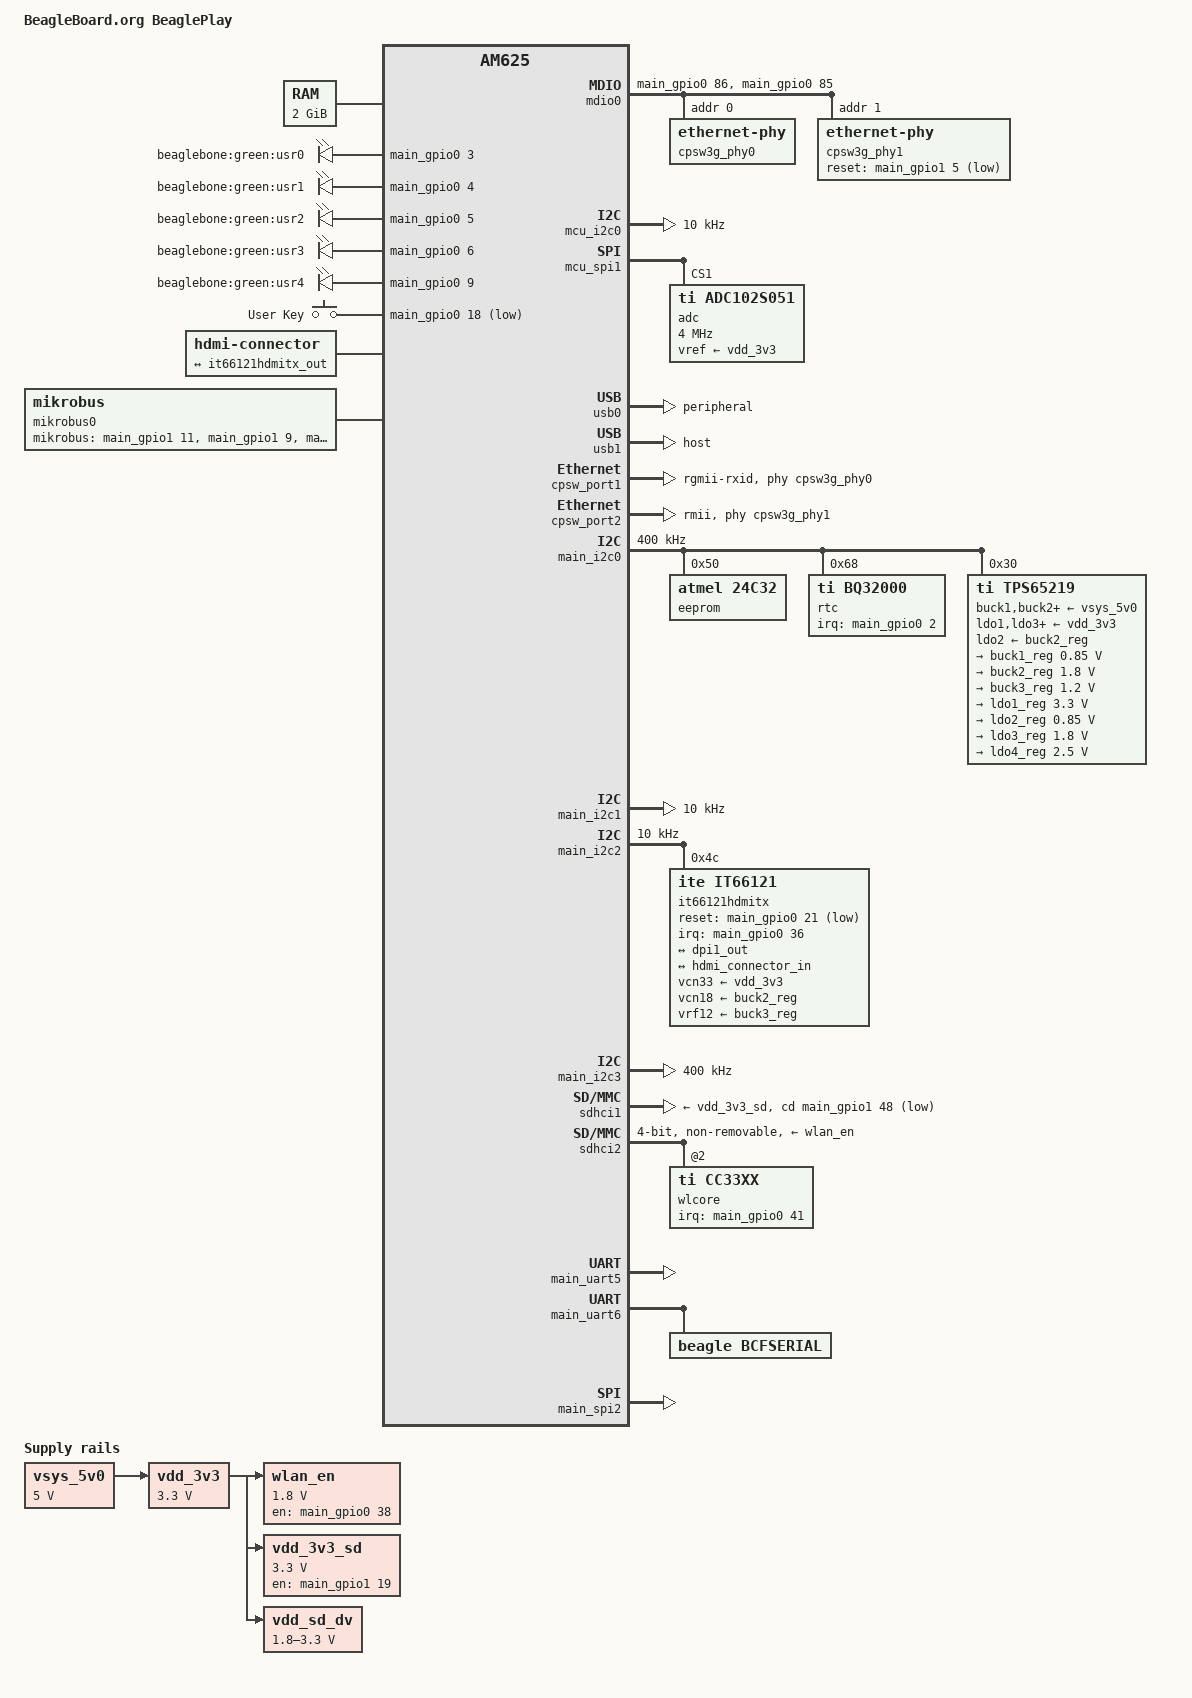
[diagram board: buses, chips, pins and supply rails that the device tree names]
// SPDX-License-Identifier: GPL-2.0
/*
 * https://beagleboard.org/play
 *
 * Copyright (C) 2022 Texas Instruments Incorporated - https://www.ti.com/
 * Copyright (C) 2022 Robert Nelson, BeagleBoard.org Foundation
 */

/dts-v1/;

#include <dt-bindings/leds/common.h>
#include <dt-bindings/gpio/gpio.h>
#include <dt-bindings/input/input.h>
#include <dt-bindings/net/ti-dp83867.h>
#include "k3-am625.dtsi"

/ {
	compatible =  "beagle,am625-beagleplay", "ti,am625";
	model = "BeagleBoard.org BeaglePlay";

	aliases {
		ethernet0 = &cpsw_port1;
		ethernet1 = &cpsw_port2;
		gpio0 = &main_gpio0;
		gpio1 = &main_gpio1;
		gpio2 = &mcu_gpio0;
		i2c0 = &main_i2c0;
		i2c1 = &main_i2c1;
		i2c2 = &main_i2c2;
		i2c3 = &main_i2c3;
		i2c4 = &wkup_i2c0;
		i2c5 = &mcu_i2c0;
		mdio-gpio0 = &mdio0;
		mikrobus0 = &mikrobus0;
		mmc0 = &sdhci0;
		mmc1 = &sdhci1;
		mmc2 = &sdhci2;
		rtc0 = &rtc;
		rtc1 = &wkup_rtc0;
		serial0 = &wkup_uart0;
		serial1 = &mcu_uart0;
		serial2 = &main_uart0;
		serial3 = &main_uart5;
		serial4 = &main_uart6;
		spi0 = &ospi0;
		spi1 = &main_spi2;
		usb0 = &usb0;
		usb1 = &usb1;
	};

	chosen {
		stdout-path = "serial2:115200n8";
	};

	memory@80000000 {
		device_type = "memory";
		/* 2G RAM */
		reg = <0x00000000 0x80000000 0x00000000 0x80000000>;
	};

	reserved-memory {
		#address-cells = <2>;
		#size-cells = <2>;
		ranges;

		rtos_ipc_memory_region: ipc-memories@9c800000 {
			compatible = "shared-dma-pool";
			reg = <0x00 0x9c800000 0x00 0x00300000>;
			no-map;
		};

		mcu_m4fss_dma_memory_region: m4f-dma-memory@9cb00000 {
			compatible = "shared-dma-pool";
			reg = <0x00 0x9cb00000 0x00 0x100000>;
			no-map;
		};

		mcu_m4fss_memory_region: m4f-memory@9cc00000 {
			compatible = "shared-dma-pool";
			reg = <0x00 0x9cc00000 0x00 0xe00000>;
			no-map;
		};

		wkup_r5fss0_core0_dma_memory_region: r5f-dma-memory@9da00000 {
			compatible = "shared-dma-pool";
			reg = <0x00 0x9da00000 0x00 0x00100000>;
			no-map;
		};

		wkup_r5fss0_core0_memory_region: r5f-memory@9db00000 {
			compatible = "shared-dma-pool";
			reg = <0x00 0x9db00000 0x00 0x00c00000>;
			no-map;
		};

		lpm_ctx_ddr: lpm-memory@9e700000 {
			reg = <0x00 0x9e700000 0x00 0x80000>;
			alignment = <0x1000>;
		};

		secure_tfa_ddr: tfa@9e780000 {
			reg = <0x00 0x9e780000 0x00 0x80000>;
			alignment = <0x1000>;
			no-map;
		};

		secure_ddr: optee@9e800000 {
			reg = <0x00 0x9e800000 0x00 0x01800000>; /* for OP-TEE */
			alignment = <0x1000>;
			no-map;
		};
	};

	vsys_5v0: regulator-1 {
		compatible = "regulator-fixed";
		regulator-name = "vsys_5v0";
		regulator-min-microvolt = <5000000>;
		regulator-max-microvolt = <5000000>;
		regulator-always-on;
		regulator-boot-on;
	};

	vdd_3v3: regulator-2 {
		/* output of TLV62595DMQR-U12 */
		compatible = "regulator-fixed";
		regulator-name = "vdd_3v3";
		regulator-min-microvolt = <3300000>;
		regulator-max-microvolt = <3300000>;
		vin-supply = <&vsys_5v0>;
		regulator-always-on;
		regulator-boot-on;
	};

	wlan_en: regulator-3 {
		/* OUTPUT of SN74AVC2T244DQMR */
		compatible = "regulator-fixed";
		regulator-name = "wlan_en";
		regulator-min-microvolt = <1800000>;
		regulator-max-microvolt = <1800000>;
		enable-active-high;
		regulator-always-on;
		vin-supply = <&vdd_3v3>;
		gpio = <&main_gpio0 38 GPIO_ACTIVE_HIGH>;
		pinctrl-names = "default";
		pinctrl-0 = <&wifi_en_pins_default>;
	};

	vdd_3v3_sd: regulator-4 {
		/* output of TPS22918DBVR-U21 */
		pinctrl-names = "default";
		pinctrl-0 = <&vdd_3v3_sd_pins_default>;

		compatible = "regulator-fixed";
		regulator-name = "vdd_3v3_sd";
		regulator-min-microvolt = <3300000>;
		regulator-max-microvolt = <3300000>;
		enable-active-high;
		regulator-always-on;
		vin-supply = <&vdd_3v3>;
		gpio = <&main_gpio1 19 GPIO_ACTIVE_HIGH>;
	};

	vdd_sd_dv: regulator-5 {
		compatible = "regulator-gpio";
		regulator-name = "sd_hs200_switch";
		pinctrl-names = "default";
		pinctrl-0 = <&vdd_sd_dv_pins_default>;
		regulator-min-microvolt = <1800000>;
		regulator-max-microvolt = <3300000>;
		regulator-boot-on;
		vin-supply = <&vdd_3v3>;
		gpios = <&main_gpio1 49 GPIO_ACTIVE_HIGH>;
		states = <1800000 0x0>,
			 <3300000 0x1>;
	};

	leds {
		compatible = "gpio-leds";

		led-0 {
			label = "beaglebone:green:usr0";
			gpios = <&main_gpio0 3 GPIO_ACTIVE_HIGH>;
			linux,default-trigger = "heartbeat";
			function = LED_FUNCTION_HEARTBEAT;
		};

		led-1 {
			label = "beaglebone:green:usr1";
			gpios = <&main_gpio0 4 GPIO_ACTIVE_HIGH>;
			linux,default-trigger = "mmc0";
			function = LED_FUNCTION_DISK_ACTIVITY;
		};

		led-2 {
			label = "beaglebone:green:usr2";
			gpios = <&main_gpio0 5 GPIO_ACTIVE_HIGH>;
			linux,default-trigger = "cpu";
			function = LED_FUNCTION_CPU;
		};

		led-3 {
			label = "beaglebone:green:usr3";
			gpios = <&main_gpio0 6 GPIO_ACTIVE_HIGH>;
			linux,default-trigger = "mmc1";
			function = LED_FUNCTION_DISK_ACTIVITY;
		};

		led-4 {
			label = "beaglebone:green:usr4";
			gpios = <&main_gpio0 9 GPIO_ACTIVE_HIGH>;
			linux,default-trigger = "phy0tx";
			function = LED_FUNCTION_WLAN;
		};
	};

	gpio_keys: gpio-keys {
		compatible = "gpio-keys";
		autorepeat;
		pinctrl-names = "default";
		pinctrl-0 = <&usr_button_pins_default>;

		usr: usr {
			label = "User Key";
			linux,code = <BTN_0>;
			gpios = <&main_gpio0 18 GPIO_ACTIVE_LOW>;
		};

	};

	hdmi0: connector {
		compatible = "hdmi-connector";
		label = "hdmi";
		type = "a";
		port {
			hdmi_connector_in: endpoint {
				remote-endpoint = <&it66121hdmitx_out>;
			};
		};
	};

	sound {
		compatible = "simple-audio-card";
		simple-audio-card,name = "it66121 HDMI";
		simple-audio-card,format = "i2s";
		simple-audio-card,bitclock-master = <&hdmi_dailink_master>;
		simple-audio-card,frame-master = <&hdmi_dailink_master>;
		simple-audio-card,mclk-fs = <2182>;

		hdmi_dailink_master: simple-audio-card,cpu {
			sound-dai = <&mcasp1>;
			system-clock-frequency = <24000000>;
			system-clock-direction-out;
		};

		simple-audio-card,codec {
			sound-dai = <&it66121hdmitx>;
		};
	};

	mdio0: bitbang-mdio {
		compatible = "virtual,mdio-gpio";
		pinctrl-names = "default";
		pinctrl-0 = <&mdio0_pins_default>;
		gpios = <&main_gpio0 86 GPIO_ACTIVE_HIGH>, /* MDC */
			<&main_gpio0 85 GPIO_ACTIVE_HIGH>; /* MDIO */
		#address-cells = <1>;
		#size-cells = <0>;

		cpsw3g_phy0: ethernet-phy@0 {
			reg = <0>;
			ti,rx-internal-delay = <DP83867_RGMIIDCTL_2_00_NS>;
			ti,fifo-depth = <DP83867_PHYCR_FIFO_DEPTH_4_B_NIB>;
			ti,min-output-impedance;
		};

		cpsw3g_phy1: ethernet-phy@1 {
			reg = <1>;
			reset-gpios = <&main_gpio1 5 GPIO_ACTIVE_LOW>;
			reset-assert-us = <25>;
			reset-deassert-us = <60000>; /* T2 */
		};
	};

	mikrobus0: linux-mikrobus {
		compatible = "linux,mikrobus";
		pinctrl-names = "default", "pwm_default", "pwm_gpio",
				"uart_default", "uart_gpio", "i2c_default",
				"i2c_gpio", "spi_default", "spi_gpio";
		pinctrl-0 = <&mikrobus_gpio_pins_default>;
		pinctrl-1 = <&mikrobus_pwm_pins_default>;
		pinctrl-2 = <&mikrobus_pwm_pins_gpio>;
		pinctrl-3 = <&mikrobus_uart_pins_default>;
		pinctrl-4 = <&mikrobus_uart_pins_gpio>;
		pinctrl-5 = <&mikrobus_i2c_pins_default>;
		pinctrl-6 = <&mikrobus_i2c_pins_gpio>;
		pinctrl-7 = <&mikrobus_spi_pins_default>;
		pinctrl-8 = <&mikrobus_spi_pins_gpio>;
		i2c-adapter = <&main_i2c3>;
		spi-master = <1>;
		spi-cs = <0 1>;
		uart = <&main_uart5>;
		mikrobus-gpios = <&main_gpio1 11 GPIO_ACTIVE_HIGH>, <&main_gpio1 9 GPIO_ACTIVE_HIGH>,
		<&main_gpio1 24 GPIO_ACTIVE_HIGH>, <&main_gpio1 25 GPIO_ACTIVE_HIGH>,
		<&main_gpio1 22 GPIO_ACTIVE_HIGH>, <&main_gpio1 23 GPIO_ACTIVE_HIGH>,
		<&main_gpio1 7 GPIO_ACTIVE_HIGH>, <&main_gpio1 8 GPIO_ACTIVE_HIGH>,
		<&main_gpio1 14 GPIO_ACTIVE_HIGH>, <&main_gpio1 13 GPIO_ACTIVE_HIGH>,
		<&main_gpio1 12 GPIO_ACTIVE_HIGH>, <&main_gpio1 10 GPIO_ACTIVE_HIGH>;
	};

};


&main_pmx0 {
	hdmi_pins_default: hdmi-pins-default {
		pinctrl-single,pins = <
			AM62X_IOPAD(0x0100, PIN_OUTPUT, 0) /* (AC25) VOUT0_VSYNC */
			AM62X_IOPAD(0x00f8, PIN_OUTPUT, 0) /* (AB24) VOUT0_HSYNC */
			AM62X_IOPAD(0x0104, PIN_OUTPUT, 0) /* (AC24) VOUT0_PCLK */
			AM62X_IOPAD(0x00fc, PIN_OUTPUT, 0) /* (Y20) VOUT0_DE */
			AM62X_IOPAD(0x00b8, PIN_OUTPUT, 0) /* (U22) VOUT0_DATA0 */
			AM62X_IOPAD(0x00bc, PIN_OUTPUT, 0) /* (V24) VOUT0_DATA1 */
			AM62X_IOPAD(0x00c0, PIN_OUTPUT, 0) /* (W25) VOUT0_DATA2 */
			AM62X_IOPAD(0x00c4, PIN_OUTPUT, 0) /* (W24) VOUT0_DATA3 */
			AM62X_IOPAD(0x00c8, PIN_OUTPUT, 0) /* (Y25) VOUT0_DATA4 */
			AM62X_IOPAD(0x00cc, PIN_OUTPUT, 0) /* (Y24) VOUT0_DATA5 */
			AM62X_IOPAD(0x00d0, PIN_OUTPUT, 0) /* (Y23) VOUT0_DATA6 */
			AM62X_IOPAD(0x00d4, PIN_OUTPUT, 0) /* (AA25) VOUT0_DATA7 */
			AM62X_IOPAD(0x00d8, PIN_OUTPUT, 0) /* (V21) VOUT0_DATA8 */
			AM62X_IOPAD(0x00dc, PIN_OUTPUT, 0) /* (W21) VOUT0_DATA9 */
			AM62X_IOPAD(0x00e0, PIN_OUTPUT, 0) /* (V20) VOUT0_DATA10 */
			AM62X_IOPAD(0x00e4, PIN_OUTPUT, 0) /* (AA23) VOUT0_DATA11 */
			AM62X_IOPAD(0x00e8, PIN_OUTPUT, 0) /* (AB25) VOUT0_DATA12 */
			AM62X_IOPAD(0x00ec, PIN_OUTPUT, 0) /* (AA24) VOUT0_DATA13 */
			AM62X_IOPAD(0x00f0, PIN_OUTPUT, 0) /* (Y22) VOUT0_DATA14 */
			AM62X_IOPAD(0x00f4, PIN_OUTPUT, 0) /* (AA21) VOUT0_DATA15 */
			AM62X_IOPAD(0x005c, PIN_OUTPUT, 1) /* (R24) GPMC0_AD8.VOUT0_DATA16 */
			AM62X_IOPAD(0x0060, PIN_OUTPUT, 1) /* (R25) GPMC0_AD9.VOUT0_DATA17 */
			AM62X_IOPAD(0x0064, PIN_OUTPUT, 1) /* (T25) GPMC0_AD10.VOUT0_DATA18 */
			AM62X_IOPAD(0x0068, PIN_OUTPUT, 1) /* (R21) GPMC0_AD11.VOUT0_DATA19 */
			AM62X_IOPAD(0x006c, PIN_OUTPUT, 1) /* (T22) GPMC0_AD12.VOUT0_DATA20 */
			AM62X_IOPAD(0x0070, PIN_OUTPUT, 1) /* (T24) GPMC0_AD13.VOUT0_DATA21 */
			AM62X_IOPAD(0x0074, PIN_OUTPUT, 1) /* (U25) GPMC0_AD14.VOUT0_DATA22 */
			AM62X_IOPAD(0x0078, PIN_OUTPUT, 1) /* (U24) GPMC0_AD15.VOUT0_DATA23 */
		>;
	};

	hdmi_gpio_pins_default: hdmi-gpio-pins-default {
		pinctrl-single,pins = <
			AM62X_IOPAD(0x0094, PIN_INPUT_PULLUP | PIN_DEBOUNCE_CONF6, 7) /* (N20) GPMC0_BE1n.GPIO0_36 */
			AM62X_IOPAD(0x0054, PIN_OUTPUT_PULLUP, 7) /* (P21) GPMC0_AD6.GPIO0_21 */
		>;
	};

	gpio0_pins_default: gpio0-pins-default {
		pinctrl-single,pins = <
			AM62X_IOPAD(0x0004, PIN_INPUT, 7) /* (G25) OSPI0_LBCLKO.GPIO0_1 */
			AM62X_IOPAD(0x0008, PIN_INPUT, 7) /* (J24) OSPI0_DQS.GPIO0_2 */
			AM62X_IOPAD(0x000c, PIN_INPUT, 7) /* (E25) OSPI0_D0.GPIO0_3 */
			AM62X_IOPAD(0x0010, PIN_INPUT, 7) /* (G24) OSPI0_D1.GPIO0_4 */
			AM62X_IOPAD(0x0014, PIN_INPUT, 7) /* (F25) OSPI0_D2.GPIO0_5 */
			AM62X_IOPAD(0x0018, PIN_INPUT, 7) /* (F24) OSPI0_D3.GPIO0_6 */
			AM62X_IOPAD(0x0024, PIN_INPUT, 7) /* (H25) OSPI0_D6.GPIO0_9 */
			AM62X_IOPAD(0x0028, PIN_INPUT, 7) /* (J22) OSPI0_D7.GPIO0_10 */
			AM62X_IOPAD(0x002c, PIN_INPUT, 7) /* (F23) OSPI0_CSn0.GPIO0_11 */
			AM62X_IOPAD(0x0030, PIN_INPUT, 7) /* (G21) OSPI0_CSn1.GPIO0_12 */
			AM62X_IOPAD(0x0034, PIN_INPUT, 7) /* (H21) OSPI0_CSn2.GPIO0_13 */
			AM62X_IOPAD(0x0038, PIN_INPUT, 7) /* (E24) OSPI0_CSn3.GPIO0_14 */
			AM62X_IOPAD(0x004c, PIN_INPUT, 7) /* (P24) GPMC0_AD4.GPIO0_19 */
			AM62X_IOPAD(0x0050, PIN_INPUT, 7) /* (P22) GPMC0_AD5.GPIO0_20 */
			AM62X_IOPAD(0x00a4, PIN_INPUT, 7) /* (M22) GPMC0_DIR.GPIO0_40 */
			AM62X_IOPAD(0x00ac, PIN_INPUT, 7) /* (L21) GPMC0_CSn1.GPIO0_42 */
		>;
	};

	vdd_sd_dv_pins_default: vdd-sd-pins-default {
		pinctrl-single,pins = <
			AM62X_IOPAD(0x0244, PIN_OUTPUT, 7) /* (C17) MMC1_SDWP.GPIO1_49 */
		>;
	};

	usr_button_pins_default: usr-button-pins-default {
		pinctrl-single,pins = <
			AM62X_IOPAD(0x0048, PIN_INPUT, 7) /* (N25) GPMC0_AD3.GPIO0_18 */
		>;
	};

	grove_pins_default: grove-pins-default {
		pinctrl-single,pins = <
			AM62X_IOPAD(0x01e8, PIN_INPUT_PULLUP, 0) /* (B17) I2C1_SCL */
			AM62X_IOPAD(0x01ec, PIN_INPUT_PULLUP, 0) /* (A17) I2C1_SDA */
		>;
	};

	local_i2c_pins_default: local-i2c-pins-default {
		pinctrl-single,pins = <
			AM62X_IOPAD(0x01e0, PIN_INPUT_PULLUP, 0) /* (B16) I2C0_SCL */
			AM62X_IOPAD(0x01e4, PIN_INPUT_PULLUP, 0) /* (A16) I2C0_SDA */
		>;
	};

	i2c2_1v8_pins_default: i2c2-pins-default {
		pinctrl-single,pins = <
			AM62X_IOPAD(0x00b0, PIN_INPUT_PULLUP, 1) /* (K22) GPMC0_CSn2.I2C2_SCL */
			AM62X_IOPAD(0x00b4, PIN_INPUT_PULLUP, 1) /* (K24) GPMC0_CSn3.I2C2_SDA */
		>;
	};

	mcasp_hdmi_pins_default: mcasp-hdmi-pins-default {
		pinctrl-single,pins = <
			AM62X_IOPAD(0x0090, PIN_INPUT, 2) /* (M24) GPMC0_BE0n_CLE.MCASP1_ACLKX */
			AM62X_IOPAD(0x0098, PIN_INPUT, 2) /* (U23) GPMC0_WAIT0.MCASP1_AFSX */
			AM62X_IOPAD(0x008c, PIN_OUTPUT, 2) /* (L25) GPMC0_WEn.MCASP1_AXR0 */
			AM62X_IOPAD(0x0088, PIN_INPUT, 2) /* (L24) GPMC0_OEn_REn.MCASP1_AXR1 */
			AM62X_IOPAD(0x0084, PIN_INPUT, 2) /* (L23) GPMC0_ADVn_ALE.MCASP1_AXR2 */
			AM62X_IOPAD(0x007c, PIN_INPUT, 2) /* (P25) GPMC0_CLK.MCASP1_AXR3 */
		>;
	};

	mdio0_pins_default: mdio0-pins-default {
		pinctrl-single,pins = <
			AM62X_IOPAD(0x0160, PIN_OUTPUT, 7) /* (AD24) MDIO0_MDC.GPIO0_86 */
			AM62X_IOPAD(0x015c, PIN_INPUT, 7) /* (AB22) MDIO0_MDIO.GPIO0_85 */
		>;
	};

	rgmii1_pins_default: rgmii1-pins-default {
		pinctrl-single,pins = <
			AM62X_IOPAD(0x014c, PIN_INPUT, 0) /* (AB17) RGMII1_RD0 */
			AM62X_IOPAD(0x0150, PIN_INPUT, 0) /* (AC17) RGMII1_RD1 */
			AM62X_IOPAD(0x0154, PIN_INPUT, 0) /* (AB16) RGMII1_RD2 */
			AM62X_IOPAD(0x0158, PIN_INPUT, 0) /* (AA15) RGMII1_RD3 */
			AM62X_IOPAD(0x0148, PIN_INPUT, 0) /* (AD17) RGMII1_RXC */
			AM62X_IOPAD(0x0144, PIN_INPUT, 0) /* (AE17) RGMII1_RX_CTL */
			AM62X_IOPAD(0x0134, PIN_OUTPUT, 0) /* (AE20) RGMII1_TD0 */
			AM62X_IOPAD(0x0138, PIN_OUTPUT, 0) /* (AD20) RGMII1_TD1 */
			AM62X_IOPAD(0x013c, PIN_OUTPUT, 0) /* (AE18) RGMII1_TD2 */
			AM62X_IOPAD(0x0140, PIN_OUTPUT, 0) /* (AD18) RGMII1_TD3 */
			AM62X_IOPAD(0x0130, PIN_OUTPUT, 0) /* (AE19) RGMII1_TXC */
			AM62X_IOPAD(0x012c, PIN_OUTPUT, 0) /* (AD19) RGMII1_TX_CTL */
		>;
	};

	emmc_pins_default: emmc-pins-default {
		pinctrl-single,pins = <
			AM62X_IOPAD(0x0220, PIN_INPUT, 0) /* (Y3) MMC0_CMD */
			AM62X_IOPAD(0x0218, PIN_INPUT, 0) /* (AB1) MMC0_CLK */
			AM62X_IOPAD(0x0214, PIN_INPUT, 0) /* (AA2) MMC0_DAT0 */
			AM62X_IOPAD(0x0210, PIN_INPUT, 0) /* (AA1) MMC0_DAT1 */
			AM62X_IOPAD(0x020c, PIN_INPUT, 0) /* (AA3) MMC0_DAT2 */
			AM62X_IOPAD(0x0208, PIN_INPUT, 0) /* (Y4) MMC0_DAT3 */
			AM62X_IOPAD(0x0204, PIN_INPUT, 0) /* (AB2) MMC0_DAT4 */
			AM62X_IOPAD(0x0200, PIN_INPUT, 0) /* (AC1) MMC0_DAT5 */
			AM62X_IOPAD(0x01fc, PIN_INPUT, 0) /* (AD2) MMC0_DAT6 */
			AM62X_IOPAD(0x01f8, PIN_INPUT, 0) /* (AC2) MMC0_DAT7 */
		>;
	};

	vdd_3v3_sd_pins_default: vdd-3v3-sd-pins-default {
		pinctrl-single,pins = <
			AM62X_IOPAD(0x01c4, PIN_INPUT, 7) /* (B14) SPI0_D1_GPIO1_19 */
		>;
	};

	sd_pins_default: sd-pins-default {
		pinctrl-single,pins = <
			AM62X_IOPAD(0x023c, PIN_INPUT, 0) /* (A21) MMC1_CMD */
			AM62X_IOPAD(0x0234, PIN_INPUT, 0) /* (B22) MMC1_CLK */
			AM62X_IOPAD(0x0230, PIN_INPUT, 0) /* (A22) MMC1_DAT0 */
			AM62X_IOPAD(0x022c, PIN_INPUT, 0) /* (B21) MMC1_DAT1 */
			AM62X_IOPAD(0x0228, PIN_INPUT, 0) /* (C21) MMC1_DAT2 */
			AM62X_IOPAD(0x0224, PIN_INPUT, 0) /* (D22) MMC1_DAT3 */
			AM62X_IOPAD(0x0240, PIN_INPUT, 7) /* (D17) MMC1_SDCD.GPIO1_48 */
		>;
	};

	wifi_pins_default: wifi-pins-default {
		pinctrl-single,pins = <
			AM62X_IOPAD(0x0120, PIN_INPUT, 0) /* (C24) MMC2_CMD */
			AM62X_IOPAD(0x0118, PIN_INPUT, 0) /* (D25) MMC2_CLK */
			AM62X_IOPAD(0x0114, PIN_INPUT, 0) /* (B24) MMC2_DAT0 */
			AM62X_IOPAD(0x0110, PIN_INPUT, 0) /* (C25) MMC2_DAT1 */
			AM62X_IOPAD(0x010c, PIN_INPUT, 0) /* (E23) MMC2_DAT2 */
			AM62X_IOPAD(0x0108, PIN_INPUT, 0) /* (D24) MMC2_DAT3 */
			AM62X_IOPAD(0x0124, PIN_INPUT, 0) /* (A23) MMC2_SDCD */
			AM62X_IOPAD(0x11c, PIN_INPUT, 0) /* (#N/A) MMC2_CLKB */
		>;
	};

	wifi_en_pins_default: wifi-en-pins-default {
		pinctrl-single,pins = <
			AM62X_IOPAD(0x009c, PIN_OUTPUT, 7) /* (V25) GPMC0_WAIT1.GPIO0_38 */
		>;
	};

	wifi_wlirq_pins_default: wifi-wlirq-pins-default {
		pinctrl-single,pins = <
			AM62X_IOPAD(0x00a8, PIN_INPUT, 7) /* (M21) GPMC0_CSn0.GPIO0_41 */
		>;
	};

	oldi_pins_default: oldi-pins-default {
		pinctrl-single,pins = <
			AM62X_IOPAD(0x0260, PIN_OUTPUT, 0) /* (AA5) OLDI0_A0N */
			AM62X_IOPAD(0x025c, PIN_OUTPUT, 0) /* (Y6) OLDI0_A0P */
			AM62X_IOPAD(0x0268, PIN_OUTPUT, 0) /* (AD3) OLDI0_A1N */
			AM62X_IOPAD(0x0264, PIN_OUTPUT, 0) /* (AB4) OLDI0_A1P */
			AM62X_IOPAD(0x0270, PIN_OUTPUT, 0) /* (Y8) OLDI0_A2N */
			AM62X_IOPAD(0x026c, PIN_OUTPUT, 0) /* (AA8) OLDI0_A2P */
			AM62X_IOPAD(0x0278, PIN_OUTPUT, 0) /* (AB6) OLDI0_A3N */
			AM62X_IOPAD(0x0274, PIN_OUTPUT, 0) /* (AA7) OLDI0_A3P */
			AM62X_IOPAD(0x0280, PIN_OUTPUT, 0) /* (AC6) OLDI0_A4N */
			AM62X_IOPAD(0x027c, PIN_OUTPUT, 0) /* (AC5) OLDI0_A4P */
			AM62X_IOPAD(0x0288, PIN_OUTPUT, 0) /* (AE5) OLDI0_A5N */
			AM62X_IOPAD(0x0284, PIN_OUTPUT, 0) /* (AD6) OLDI0_A5P */
			AM62X_IOPAD(0x0290, PIN_OUTPUT, 0) /* (AE6) OLDI0_A6N */
			AM62X_IOPAD(0x028c, PIN_OUTPUT, 0) /* (AD7) OLDI0_A6P */
			AM62X_IOPAD(0x0298, PIN_OUTPUT, 0) /* (AD8) OLDI0_A7N */
			AM62X_IOPAD(0x0294, PIN_OUTPUT, 0) /* (AE7) OLDI0_A7P */
			AM62X_IOPAD(0x02a0, PIN_OUTPUT, 0) /* (AD4) OLDI0_CLK0N */
			AM62X_IOPAD(0x029c, PIN_OUTPUT, 0) /* (AE3) OLDI0_CLK0P */
			AM62X_IOPAD(0x02a8, PIN_OUTPUT, 0) /* (AE4) OLDI0_CLK1N */
			AM62X_IOPAD(0x02a4, PIN_OUTPUT, 0) /* (AD5) OLDI0_CLK1P */
		>;
	};

	available_pru1_pins_default: pru1-pins-default {
		pinctrl-single,pins = <
			AM62X_IOPAD(0x0174, PIN_INPUT, 4) /* (AD21) RGMII2_TD2.PR0_PRU1_GPI4 */
			AM62X_IOPAD(0x003c, PIN_INPUT, 2) /* (M25) GPMC0_AD0.PR0_PRU1_GPI8 */
			AM62X_IOPAD(0x0040, PIN_INPUT, 2) /* (N23) GPMC0_AD1.PR0_PRU1_GPI9 */
			AM62X_IOPAD(0x0044, PIN_INPUT, 2) /* (N24) GPMC0_AD2.PR0_PRU1_GPI10 */
			AM62X_IOPAD(0x0178, PIN_INPUT, 4) /* (AC20) RGMII2_TD3.PR0_PRU1_GPI16 */
		>;
	};

	spe_pins_default: spe-pins-default {
		pinctrl-single,pins = <
			AM62X_IOPAD(0x0168, PIN_INPUT, 1) /* (AE21) RGMII2_TXC.RMII2_CRS_DV */
			AM62X_IOPAD(0x0180, PIN_INPUT, 1) /* (AD23) RGMII2_RXC.RMII2_REF_CLK */
			AM62X_IOPAD(0x0184, PIN_INPUT, 1) /* (AE23) RGMII2_RD0.RMII2_RXD0 */
			AM62X_IOPAD(0x0188, PIN_INPUT, 1) /* (AB20) RGMII2_RD1.RMII2_RXD1 */
			AM62X_IOPAD(0x017c, PIN_INPUT, 1) /* (AD22) RGMII2_RX_CTL.RMII2_RX_ER */
			AM62X_IOPAD(0x016c, PIN_INPUT, 1) /* (Y18) RGMII2_TD0.RMII2_TXD0 */
			AM62X_IOPAD(0x0170, PIN_INPUT, 1) /* (AA18) RGMII2_TD1.RMII2_TXD1 */
			AM62X_IOPAD(0x0164, PIN_INPUT, 1) /* (AA19) RGMII2_TX_CTL.RMII2_TX_EN */
			AM62X_IOPAD(0x018c, PIN_OUTPUT, 7) /* (AC21) RGMII2_RD2.GPIO1_5 */
			AM62X_IOPAD(0x0190, PIN_INPUT, 7) /* (AE22) RGMII2_RD3.GPIO1_6 */
			/* THIS PIN A18 is routed to TP17 on unmodified board -> SPE at 25MHz (modified board routes to SPE) */
			AM62X_IOPAD(0x01f0, PIN_OUTPUT, 5) /* (A18) EXT_REFCLK1.CLKOUT0 */
		>;
	};

	mikrobus_gpio_pins_default: mikrobus-gpio-pins-default {
		pinctrl-single,pins = <
			AM62X_IOPAD(0x019c, PIN_INPUT, 7) /* (B18) MCASP0_AXR1.GPIO1_9 */
			AM62X_IOPAD(0x01a0, PIN_INPUT, 7) /* (E18) MCASP0_AXR0.GPIO1_10 */
			AM62X_IOPAD(0x01a8, PIN_INPUT, 7) /* (D20) MCASP0_AFSX.GPIO1_12 */
		>;
	};

	mikrobus_pwm_pins_default: mikrobus-pwm-pins-default {
		pinctrl-single,pins = <
			AM62X_IOPAD(0x01a4, PIN_INPUT, 2) /* (B20) MCASP0_ACLKX.ECAP2_IN_APWM_OUT */
		>;
	};

	mikrobus_pwm_pins_gpio: mikrobus-pwm-pins-gpio {
		pinctrl-single,pins = <
			AM62X_IOPAD(0x01a4, PIN_INPUT, 7) /* (B20) MCASP0_ACLKX.GPIO1_11 */
		>;
	};

	mikrobus_uart_pins_default: mikrobus-uart-pins-default {
		pinctrl-single,pins = <
			AM62X_IOPAD(0x01d8, PIN_INPUT, 1) /* (C15) MCAN0_TX.UART5_RXD */
			AM62X_IOPAD(0x01dc, PIN_OUTPUT, 1) /* (E15) MCAN0_RX.UART5_TXD */
		>;
	};

	mikrobus_uart_pins_gpio: mikrobus-uart-pins-gpio {
		pinctrl-single,pins = <
			AM62X_IOPAD(0x01d8, PIN_INPUT, 7) /* (C15) MCAN0_TX.GPIO1_24 */
			AM62X_IOPAD(0x01dc, PIN_INPUT, 7) /* (E15) MCAN0_RX.GPIO1_25 */
		>;
	};

	mikrobus_i2c_pins_default: mikrobus-i2c-pins-default {
		pinctrl-single,pins = <
			AM62X_IOPAD(0x01d0, PIN_INPUT_PULLUP, 2) /* (A15) UART0_CTSn.I2C3_SCL */
			AM62X_IOPAD(0x01d4, PIN_INPUT_PULLUP, 2) /* (B15) UART0_RTSn.I2C3_SDA */
		>;
	};

	mikrobus_i2c_pins_gpio: mikrobus-i2c-pins-gpio {
		pinctrl-single,pins = <
			AM62X_IOPAD(0x01d0, PIN_INPUT, 7) /* (A15) UART0_CTSn.GPIO1_22 */
			AM62X_IOPAD(0x01d4, PIN_INPUT, 7) /* (B15) UART0_RTSn.GPIO1_23 */
		>;
	};

	mikrobus_spi_pins_default: mikrobus-spi-pins-default {
		pinctrl-single,pins = <
			AM62X_IOPAD(0x01b0, PIN_INPUT, 1) /* (A20) MCASP0_ACLKR.SPI2_CLK */
			AM62X_IOPAD(0x01ac, PIN_INPUT, 1) /* (E19) MCASP0_AFSR.SPI2_CS0 */
			AM62X_IOPAD(0x0194, PIN_INPUT, 1) /* (B19) MCASP0_AXR3.SPI2_D0 */
			AM62X_IOPAD(0x0198, PIN_INPUT, 1) /* (A19) MCASP0_AXR2.SPI2_D1 */
		>;
	};

	mikrobus_spi_pins_gpio: mikrobus-spi-pins-gpio {
		pinctrl-single,pins = <
			AM62X_IOPAD(0x0194, PIN_INPUT, 7) /* (B19) MCASP0_AXR3.GPIO1_7 */
			AM62X_IOPAD(0x0198, PIN_INPUT, 7) /* (A19) MCASP0_AXR2.GPIO1_8 */
			AM62X_IOPAD(0x01ac, PIN_INPUT, 7) /* (E19) MCASP0_AFSR.GPIO1_13 */
			AM62X_IOPAD(0x01b0, PIN_INPUT, 7) /* (A20) MCASP0_ACLKR.GPIO1_14 */
		>;
	};

	touchscreen_pins_default: touchscreen-pins-default {
		pinctrl-single,pins = <
			AM62X_IOPAD(0x01b4, PIN_OUTPUT, 7) /* (A13) SPI0_CS0.GPIO1_15 */
			AM62X_IOPAD(0x00a0, PIN_INPUT, 7) /* (K25) GPMC0_WPn.GPIO0_39 */
		>;
	};

	backlight_pins_default: bl-pins-default {
		pinctrl-single,pins = <
			AM62X_IOPAD(0x0000, PIN_OUTPUT, 7) /* (H24) OSPI0_CLK.GPIO0_0 */
			AM62X_IOPAD(0x01b8, PIN_OUTPUT, 2) /* (C13) SPI0_CS1.EHRPWM0_B */
		>;
	};

	console_pins_default: console-pins-default {
		pinctrl-single,pins = <
			AM62X_IOPAD(0x01c8, PIN_INPUT, 0) /* (D14) UART0_RXD */
			AM62X_IOPAD(0x01cc, PIN_OUTPUT, 0) /* (E14) UART0_TXD */
		>;
	};

	wifi_debug_uart_pins_default: wifi-debug-uart-pins-default {
		pinctrl-single,pins = <
			AM62X_IOPAD(0x001c, PIN_INPUT, 3) /* (J23) OSPI0_D4.UART6_RXD */
			AM62X_IOPAD(0x0020, PIN_OUTPUT, 3) /* (J25) OSPI0_D5.UART6_TXD */
		>;
	};

	usb1_pins_default: usb1-pins-default {
		pinctrl-single,pins = <
			AM62X_IOPAD(0x0258, PIN_INPUT, 0) /* (F18) USB1_DRVVBUS */
		>;
	};

	pmic_irq_pins_default: pmic-irq-pins-default {
		pinctrl-single,pins = <
			AM62X_IOPAD(0x01f4, PIN_INPUT_PULLUP, 0) /* (D16) EXTINTn */
		>;
	};
};

&mcu_pmx0 {
	i2c_qwiic_pins_default: i2c-qwiic-pins-default {
		pinctrl-single,pins = <
			AM62X_MCU_IOPAD(0x0044, PIN_INPUT, 0) /* (A8) MCU_I2C0_SCL */
			AM62X_MCU_IOPAD(0x0048, PIN_INPUT, 0) /* (D10) MCU_I2C0_SDA */
		>;
	};

	mcu_mikrobus_can_pins_default: mcu-mikrobus-can-pins-default {
		pinctrl-single,pins = <
			AM62X_MCU_IOPAD(0x0034, PIN_OUTPUT, 0) /* (D6) MCU_MCAN0_TX */
		>;
	};

	adc_spi_pins_default: adc-spi-pins-default {
		pinctrl-single,pins = <
			AM62X_MCU_IOPAD(0x0040, PIN_INPUT, 4) /* (D4) MCU_MCAN1_RX.MCU_SPI1_CLK */
			/* PINMUX TOOL WARNS FOR INVALID IOSET for CS1.. */
			AM62X_MCU_IOPAD(0x003c, PIN_INPUT, 3) /* (E5) MCU_MCAN1_TX.MCU_SPI1_CS1 */
			AM62X_MCU_IOPAD(0x001c, PIN_INPUT, 3) /* (A6) MCU_UART0_CTSn.MCU_SPI1_D0 */
			AM62X_MCU_IOPAD(0x0020, PIN_INPUT, 3) /* (B6) MCU_UART0_RTSn.MCU_SPI1_D1 */
		>;
	};

	gbe_pmx_obsclk: gbe-pmx-clk-default {
		pinctrl-single,pins = <
			/* 25MHz on MCU_OBSCLK0 -unmodified board has strap option to be changed to enable this */
			AM62X_MCU_IOPAD(0x0004, PIN_OUTPUT, 1) /* (B8) MCU_SPI0_CS1.MCU_OBSCLK0 */
		>;
	};

	mcu_mikrobus_pwm_pins_default: mcu-mikrobus-pwm-pins-default {
		pinctrl-single,pins = <
			AM62X_MCU_IOPAD(0x0038, PIN_INPUT, 1) /* (B3) MCU_MCAN0_RX.MCU_TIMER_IO0 */
		>;
	};

	mcu_mikrobus_uart_pins_default: mcu-mikrobus-uart-pins-default {
		pinctrl-single,pins = <
			AM62X_MCU_IOPAD(0x0014, PIN_INPUT, 0) /* (B5) MCU_UART0_RXD */
			AM62X_MCU_IOPAD(0x0018, PIN_OUTPUT, 0) /* (A5) MCU_UART0_TXD */
		>;
	};

	i2c_csi_pins_default: i2c-csi-pins-default {
		pinctrl-single,pins = <
			AM62X_MCU_IOPAD(0x004c, PIN_INPUT_PULLUP, 0) /* (B9) WKUP_I2C0_SCL */
			AM62X_MCU_IOPAD(0x0050, PIN_INPUT_PULLUP, 0) /* (A9) WKUP_I2C0_SDA */
		>;
	};

	mcu_mikrobus_rst_int_pins_default: mcu-mikrobus-rst-int-pins-default {
		pinctrl-single,pins = <
			AM62X_MCU_IOPAD(0x0024, PIN_INPUT, 0) /* (B4) WKUP_UART0_RXD */
			AM62X_MCU_IOPAD(0x0028, PIN_OUTPUT, 0) /* (C5) WKUP_UART0_TXD */
		>;
	};

	wifi_32k_clk: mcu-clk-out-pins-default {
		pinctrl-single,pins = <
			/* A12 comes out on Strap option to route to wifi 32k */
			AM62X_MCU_IOPAD(0x0084, PIN_OUTPUT, 0) /* (A12) WKUP_CLKOUT0 */
		>;
	};
};

&a53_opp_table {
		/* Requires VDD_CORE to be at 0.85V, but we cannot do voltage scale */
		opp-1400000000 {
			opp-hz = /bits/ 64 <1400000000>;
			opp-supported-hw = <0x01 0x0004>;
		};
};

/* cbass_main */
/* cbass_wkup */

&wkup_i2c0 {
	pinctrl-names = "default";
	pinctrl-0 = <&i2c_csi_pins_default>;
	/* Bump Up to 400KHz if module allows - 100KHz default */
	clock-frequency = <10000>;
	symlink = "play/csi/i2c";
	status = "disabled";
};

&wkup_uart0 {
	pinctrl-names = "default";
	pinctrl-0 = <&mcu_mikrobus_rst_int_pins_default>;
};

&mcu_i2c0 {
	pinctrl-names = "default";
	pinctrl-0 = <&i2c_qwiic_pins_default>;
	/* Bump Up to 400 if desired */
	clock-frequency = <10000>;
	symlink = "play/qwiic/i2c";
};

&mcu_uart0 {
	pinctrl-names = "default";
	pinctrl-0 = <&mcu_mikrobus_uart_pins_default>;
};

&mcu_spi0 {
	status = "disabled";
};

&mcu_spi1 {
	pinctrl-names = "default";
	pinctrl-0 = <&adc_spi_pins_default>;
	#address-cells = <1>;
	#size-cells= <0>;
	ti,spi-num-cs = <2>;

	adc@1 {
		compatible = "ti,adc102s051";
		reg = <1>;
		vref-supply = <&vdd_3v3>;
		spi-max-frequency = <4000000>;
		#io-channel-cells = <1>;
	};
};

&mcu_rti0 {
      /* Tightly coupled to M4F */
      status = "disabled";
};

&mcu_m4fss {
	mboxes = <&mailbox0_cluster0 &mbox_m4_0>;
	memory-region = <&mcu_m4fss_dma_memory_region>,
			<&mcu_m4fss_memory_region>;
};

&fss {
	status = "disabled";
};

&main_mcan0 {
	status = "disabled";
};

&crypto {
	status = "disabled";
};

&dss {
	pinctrl-names = "default";
	pinctrl-0 = <&hdmi_pins_default>;
};

&dss_ports {
	#address-cells = <1>;
	#size-cells = <0>;

	/* VP2: DPI Output */
	port@1 {
		reg = <1>;

		dpi1_out: endpoint {
			remote-endpoint = <&it66121hdmitx_in>;
		};
	};
};

&usbss0 {
	ti,vbus-divider;
};

&usb0 {
	dr_mode = "peripheral";
};

&usb1 {
	dr_mode = "host";
	pinctrl-names = "default";
	pinctrl-0 = <&usb1_pins_default>;
};

&cpsw3g {
	pinctrl-names = "default";
	pinctrl-0 = <&rgmii1_pins_default
		     &spe_pins_default
		     &gbe_pmx_obsclk>;
	assigned-clocks = <&k3_clks 157 70>, <&k3_clks 157 20>;
	assigned-clock-parents = <&k3_clks 157 72>, <&k3_clks 157 22>;
};

&cpsw_port1 {
	phy-mode = "rgmii-rxid";
	phy-handle = <&cpsw3g_phy0>;
};

&cpsw_port2 {
	phy-mode = "rmii";
	phy-handle = <&cpsw3g_phy1>;
};

&cpsw3g_mdio {
	status = "disabled";
};

&main_gpio0 {
	pinctrl-names = "default";
	pinctrl-0 = <&gpio0_pins_default>;
	gpio-line-names = "BL_EN_3V3", "SPE_PO_EN", "RTC_INT",	/* 0-2 */
		"USR0", "USR1", "USR2", "USR3", "", "", "USR4",	/* 3-9 */
		"EEPROM_WP",					/* 10 */
		"CSI2_CAMERA_GPIO1", "CSI2_CAMERA_GPIO2",	/* 11-12 */
		"CC1352P7_BOOT", "CC1352P7_RSTN", "", "", "",	/* 13-17 */
		"USR_BUTTON", "", "", "", "", "", "", "", "",	/* 18-26 */
		"", "", "", "", "", "", "", "", "", "HDMI_INT",	/* 27-36 */
		"", "VDD_WLAN_EN", "", "", "WL_IRQ", "GBE_INTN",/* 37-42 */
		"", "", "", "", "", "", "", "", "", "", "", "",	/* 43-54 */
		"", "", "", "", "", "", "", "", "", "", "", "", /* 55-66 */
		"", "", "", "", "", "", "", "", "", "", "", "", /* 67-78 */
		"", "", "", "", "", "",				/* 79-84 */
		"BITBANG_MDIO_DATA", "BITBANG_MDIO_CLK";	/* 85-86 */
};

&main_gpio1 {
	gpio-line-names = "", "", "", "", "",			/* 0-4 */
		"SPE_RSTN", "SPE_INTN", "MIKROBUS_GPIO1_7",	/* 5-7 */
		"MIKROBUS_GPIO1_8", "MIKROBUS_GPIO1_9",		/* 8-9 */
		"MIKROBUS_GPIO1_10", "MIKROBUS_GPIO1_11",	/* 10-11 */
		"MIKROBUS_GPIO1_12", "MIKROBUS_W1_GPIO0",	/* 12-13 */
		"MIKROBUS_GPIO1_14",				/* 14 */
		"", "", "", "", "VDD_3V3_SD", "", "",		/* 15-21 */
		"MIKROBUS_GPIO1_22", "MIKROBUS_GPIO1_23",	/* 22-23 */
		"MIKROBUS_GPIO1_24", "MIKROBUS_GPIO1_25",	/* 24-25 */
		"", "", "", "", "", "", "", "", "", "", "", "",	/* 26-37 */
		"", "", "", "", "", "", "", "", "", "",		/* 38-47 */
		"SD_CD", "SD_VOLT_SEL", "", "", "", "", "", "",	/* 48-55 */
		"", "", "", "", "", "", "", "", "", "", "", "", /* 56-67 */
		"", "", "", "", "", "", "", "", "", "", "", "", /* 68-79 */
		"", "", "", "", "", "", "", "";			/* 80-87 */
};

&mcu_gpio0 {
	gpio-line-names = "", "", "", "",			/* 0-3 */
		"", "", "", "",					/* 4-7 */
		"", "", "", "",					/* 8-11 */
		"", "", "", "",					/* 12-15 */
		"", "QWIIC_I2C0_SCL", "QWIIC_I2C0_SDA", "",	/* 16-19 */
		"", "", "", "";					/* 20-23 */
};

&main_i2c0 {
	pinctrl-names = "default";
	pinctrl-0 = <&local_i2c_pins_default>;
	clock-frequency = <400000>;

	eeprom@50 {
		compatible = "atmel,24c32";
		reg = <0x50>;
	};

	rtc: rtc@68 {
		compatible = "ti,bq32000";
		reg = <0x68>;
		interrupt-parent = <&main_gpio0>;
		interrupts = <2 IRQ_TYPE_EDGE_FALLING>;
	};

	tps65219: pmic@30 {
		compatible = "ti,tps65219";
		reg = <0x30>;
		buck1-supply = <&vsys_5v0>;
		buck2-supply = <&vsys_5v0>;
		buck3-supply = <&vsys_5v0>;
		ldo1-supply = <&vdd_3v3>;
		ldo2-supply = <&buck2_reg>;
		ldo3-supply = <&vdd_3v3>;
		ldo4-supply = <&vdd_3v3>;

		pinctrl-names = "default";
		pinctrl-0 = <&pmic_irq_pins_default>;
		interrupt-parent = <&gic500>;
		interrupts = <GIC_SPI 224 IRQ_TYPE_LEVEL_HIGH>;
		interrupt-controller;
		#interrupt-cells = <2>;

		system-power-controller;
		wakeup-source;
		power-button;

		regulators {
			buck1_reg: buck1 {
				regulator-name = "VDD_CORE";
				regulator-min-microvolt = <850000>;
				regulator-max-microvolt = <850000>;
				regulator-boot-on;
				regulator-always-on;
			};

			buck2_reg: buck2 {
				regulator-name = "VDD_1V8";
				regulator-min-microvolt = <1800000>;
				regulator-max-microvolt = <1800000>;
				regulator-boot-on;
				regulator-always-on;
			};

			buck3_reg: buck3 {
				regulator-name = "VDD_1V2";
				regulator-min-microvolt = <1200000>;
				regulator-max-microvolt = <1200000>;
				regulator-boot-on;
				regulator-always-on;
			};

			ldo1_reg: ldo1 {
				/*
				 * Regulator is left as is unused, vdd_sd
				 * is controlled via GPIO with bypass config
				 * as per the NVM configuration
				 */
				regulator-name = "VDD_SD_3V3";
				regulator-min-microvolt = <3300000>;
				regulator-max-microvolt = <3300000>;
				regulator-allow-bypass;
				regulator-boot-on;
				regulator-always-on;
			};

			ldo2_reg: ldo2 {
				regulator-name = "VDDA_0V85";
				regulator-min-microvolt = <850000>;
				regulator-max-microvolt = <850000>;
				regulator-boot-on;
				regulator-always-on;
			};

			ldo3_reg: ldo3 {
				regulator-name = "VDDA_1V8";
				regulator-min-microvolt = <1800000>;
				regulator-max-microvolt = <1800000>;
				regulator-boot-on;
				regulator-always-on;
			};

			ldo4_reg: ldo4 {
				regulator-name = "VDD_2V5";
				regulator-min-microvolt = <2500000>;
				regulator-max-microvolt = <2500000>;
				regulator-boot-on;
				regulator-always-on;
			};
		};
	};
};

&main_i2c1 {
	pinctrl-names = "default";
	pinctrl-0 = <&grove_pins_default>;
	clock-frequency = <10000>;
	symlink = "play/grove/i2c";
};

&main_i2c2 {
	pinctrl-names = "default";
	pinctrl-0 = <&i2c2_1v8_pins_default>;
	clock-frequency = <10000>;

	it66121hdmitx: hdmitx@4c {
		#sound-dai-cells = <0>;
		compatible = "ite,it66121";
		pinctrl-names = "default";
		pinctrl-0 = <&hdmi_gpio_pins_default>;
		reg = <0x4c>;

		interrupt-parent = <&main_gpio0>;
		interrupts = <36 IRQ_TYPE_EDGE_FALLING>;

		vcn33-supply = <&vdd_3v3>;
		vcn18-supply = <&buck2_reg>;
		vrf12-supply = <&buck3_reg>;

		reset-gpios = <&main_gpio0 21 GPIO_ACTIVE_LOW>;

		ports {
			#address-cells = <1>;
			#size-cells = <0>;

			port@0 {
				reg = <0>;

				it66121hdmitx_in: endpoint {
					bus-width = <24>;
					remote-endpoint = <&dpi1_out>;
				};
			};

			port@1 {
				reg = <1>;

				it66121hdmitx_out: endpoint {
					remote-endpoint = <&hdmi_connector_in>;
				};
			};
		};
	};
};

&main_i2c3 {
	status = "okay";
	clock-frequency = <400000>;
};

&mailbox0_cluster0 {
	mbox_m4_0: mbox-m4-0 {
		ti,mbox-rx = <0 0 0>;
		ti,mbox-tx = <1 0 0>;
	};
};

&mcasp0 {
	status = "disabled";
};

&mcasp1 {
	pinctrl-names = "default";
	pinctrl-0 = <&mcasp_hdmi_pins_default>;

	#sound-dai-cells = <0>;

	op-mode = <0>;          /* MCASP_IIS_MODE */
	tdm-slots = <2>;

	serial-dir = <  /* 0: INACTIVE, 1: TX, 2: RX */
	       1 0 0 0
	       0 0 0 0
	       0 0 0 0
	       0 0 0 0
	>;
	tx-num-evt = <32>;
	rx-num-evt = <32>;
};

&mcasp2 {
	status = "disabled";
};

&sdhci0 {
	pinctrl-names = "default";
	pinctrl-0 = <&emmc_pins_default>;
	ti,driver-strength-ohm = <50>;
	disable-wp;
};

&sdhci1 {
	/* SD/MMC */
	pinctrl-names = "default";
	pinctrl-0 = <&sd_pins_default>;

	vmmc-supply = <&vdd_3v3_sd>;
	vqmmc-supply = <&vdd_sd_dv>;
	ti,driver-strength-ohm = <50>;
	disable-wp;
	cd-gpios = <&main_gpio1 48 GPIO_ACTIVE_LOW>;
	cd-debounce-delay-ms = <100>;
	ti,fails-without-test-cd;
};

&sdhci2 {
	vmmc-supply = <&wlan_en>;
	pinctrl-names = "default";
	pinctrl-0 = <&wifi_pins_default &wifi_32k_clk>;
	bus-width = <4>;
	non-removable;
	ti,fails-without-test-cd;
	cap-power-off-card;
	keep-power-in-suspend;
	ti,driver-strength-ohm = <50>;
	assigned-clocks = <&k3_clks 157 158>;
	assigned-clock-parents = <&k3_clks 157 160>;

	#address-cells = <1>;
	#size-cells = <0>;
	wlcore: wlcore@2 {
		compatible = "ti,cc33xx";
		reg = <2>;
		pinctrl-names = "default";
		pinctrl-0 = <&wifi_wlirq_pins_default>;
		interrupt-parent = <&main_gpio0>;
		interrupts = <41 IRQ_TYPE_EDGE_RISING>;
		irq-gpio = <&main_gpio0 41 GPIO_ACTIVE_HIGH>;
	};
};

&epwm0 {
	status = "disabled";
};

&epwm1 {
	status = "disabled";
};

&epwm2 {
	status = "disabled";
};

&ecap0_pwm {
	status = "disabled";
};

&ecap1_pwm {
	status = "disabled";
};

&ecap2_pwm {
	status = "disabled";
};

&main_uart0 {
	pinctrl-names = "default";
	pinctrl-0 = <&console_pins_default>;
};

&main_uart1 {
	/* Main UART1 is used by TIFS firmware */
	status = "reserved";
};

&main_uart2 {
	status = "disabled";
};

&main_uart3 {
	status = "disabled";
};

&main_uart4 {
	status = "disabled";
};

&main_uart5 {
	status = "okay";
	force-empty-serdev-controller;
};

&main_uart6 {
	pinctrl-names = "default";
	pinctrl-0 = <&wifi_debug_uart_pins_default>;
	symlink = "play/cc1352/uart";

	bcfserial {
		compatible = "beagle,bcfserial";
	};
};

&main_spi0 {
	status = "disabled";
};

&main_spi1 {
	status = "disabled";
};

&main_spi2 {
	status = "okay";
};

&dphy0 {
       status = "disabled";
};

&ti_csi2rx0 {
      status = "disabled";
};
